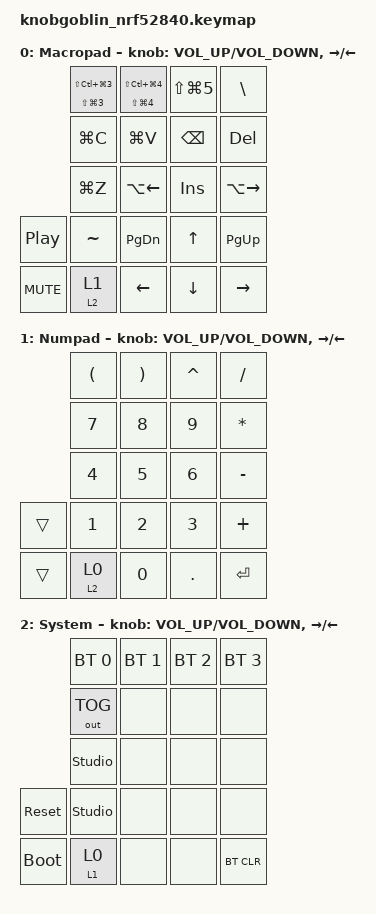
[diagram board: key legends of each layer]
#include <behaviors.dtsi>
#include <dt-bindings/zmk/bt.h>
#include <dt-bindings/zmk/outputs.h>
#include <dt-bindings/zmk/keys.h>

/ {
    behaviors {
                        
        kg_ht: kg_hold_tap {
            compatible = "zmk,behavior-hold-tap";
            #binding-cells = <2>;
            tapping-term-ms = <200>;
            quick-tap-ms = <0>;
            flavor = "tap-preferred";
            bindings = <&kp>, <&kp>;
        };
        
        to_ht: to_hold_tap {
            compatible = "zmk,behavior-hold-tap";
            #binding-cells = <2>;
            tapping-term-ms = <300>;
            quick-tap-ms = <0>;
            flavor = "tap-preferred";
            bindings = <&to>, <&to>;
        };
    };
    
    keymap {
        compatible = "zmk,keymap";

        layer_macropad {
            display-name = "Macropad";
            bindings = <
                                    &kg_ht LS(LG(N3)) LS(LC(LG(N3)))    &kg_ht LS(LG(N4)) LS(LC(LG(N4)))    &kp LS(LG(N5))    &kp BACKSLASH
                                    &kp LG(C)                           &kp LG(V)                           &kp BACKSPACE     &kp DELETE
                                    &kp LG(Z)                           &kp LA(LEFT)                        &kp INSERT        &kp LA(RIGHT)
                &kp C_PLAY_PAUSE    &kp TILDE                           &kp PAGE_DOWN                       &kp UP            &kp PAGE_UP
                &kp C_MUTE          &to_ht 2 1                          &kp LEFT                            &kp DOWN          &kp RIGHT
            >;

            sensor-bindings =
                <&inc_dec_kp C_VOLUME_UP C_VOLUME_DOWN>,
                <&inc_dec_kp RIGHT LEFT>;
        };

        layer_numpad {
            display-name = "Numpad";
            bindings = <
                          &kp LPAR     &kp RPAR    &kp CARET    &kp SLASH
                          &kp N7       &kp N8      &kp N9       &kp STAR
                          &kp N4       &kp N5      &kp N6       &kp MINUS
                &trans    &kp N1       &kp N2      &kp N3       &kp PLUS
                &trans    &to_ht 2 0   &kp N0      &kp DOT      &kp ENTER
            >;

            sensor-bindings =
                <&inc_dec_kp C_VOLUME_UP C_VOLUME_DOWN>,
                <&inc_dec_kp RIGHT LEFT>;
        };

        layer_system {
            display-name = "System";
            bindings = <
                               &bt BT_SEL 0      &bt BT_SEL 1    &bt BT_SEL 2    &bt BT_SEL 3
                               &out OUT_TOG      &none           &none           &none
                               &studio_unlock    &none           &none           &none
                &sys_reset     &studio_unlock    &none           &none           &none
                &bootloader    &to_ht 1 0        &none           &none           &bt BT_CLR
            >;

            sensor-bindings =
                <&inc_dec_kp C_VOLUME_UP C_VOLUME_DOWN>,
                <&inc_dec_kp RIGHT LEFT>;
        };

        layer_reserved { status = "reserved"; };
    };
};
